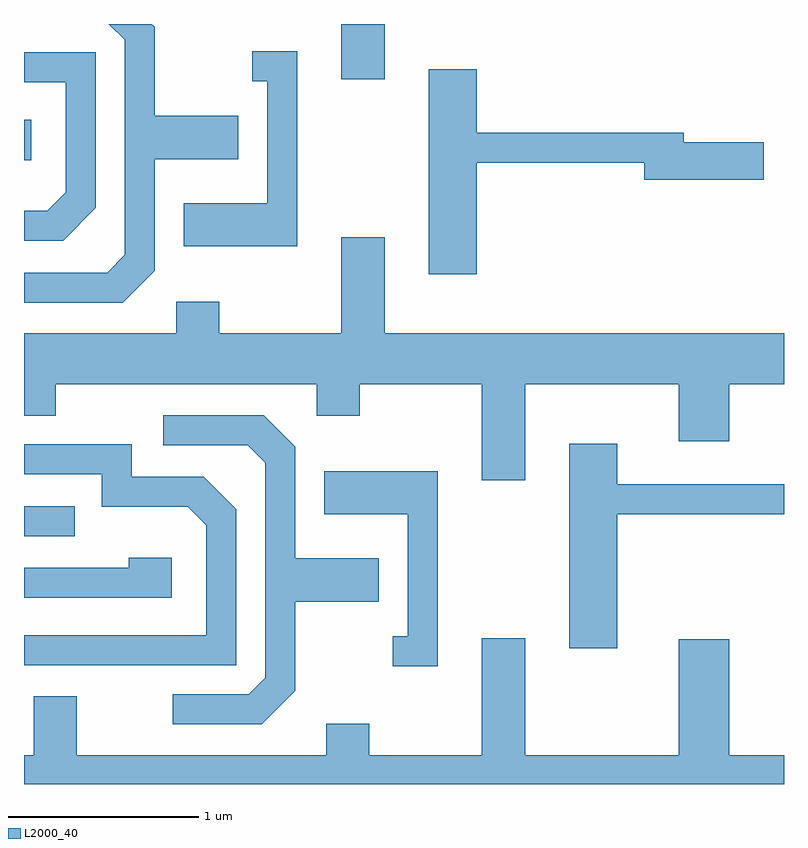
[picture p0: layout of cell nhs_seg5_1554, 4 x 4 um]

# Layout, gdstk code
import gdstk
lib = gdstk.Library(unit=1e-6, precision=1e-09)
def R(c, l, rs):  # rectangles x0, y0, x1, y1
    for r in rs: c.add(gdstk.rectangle(r[:2], r[2:], *l))
def P(c, l, *ps):  # polygons
    for p in ps: c.add(gdstk.Polygon(p, *l))
L2000_40 = (2000, 40)

nhs_seg5_1554 = lib.new_cell('nhs_seg5_1554')
R(nhs_seg5_1554, L2000_40, [(231.611,1409.376,231.878,1409.534), (231.611,1411.356,231.649,1411.569), (233.281,1411.781,233.509,1412.072)])
P(nhs_seg5_1554, L2000_40, [(232.299,1410.774),(232.299,1411.361),(232.739,1411.361),(232.739,1411.589),(232.299,1411.589),(232.299,1412.057),(232.284,1412.072),(232.058,1412.072),(232.141,1411.989),(232.141,1410.857),(232.049,1410.764),(231.611,1410.764),(231.611,1410.606),(232.132,1410.606)],
  [(233.049,1411.929),(232.813,1411.929),(232.813,1411.771),(232.891,1411.771),(232.891,1411.129),(232.451,1411.129),(232.451,1410.901),(233.049,1410.901)],
  [(231.989,1411.104),(231.989,1411.924),(231.611,1411.924),(231.611,1411.766),(231.831,1411.766),(231.831,1411.187),(231.734,1411.089),(231.611,1411.089),(231.611,1410.931),(231.817,1410.931)],
  [(233.994,1411.341),(234.876,1411.341),(234.876,1411.251),(235.504,1411.251),(235.504,1411.449),(235.084,1411.449),(235.084,1411.499),(233.994,1411.499),(233.994,1411.834),(233.741,1411.834),(233.741,1410.756),(233.994,1410.756)],
  [(234.249,1410.176),(235.056,1410.176),(235.056,1409.876),(235.324,1409.876),(235.324,1410.176),(235.611,1410.176),(235.611,1410.444),(233.509,1410.444),(233.509,1410.949),(233.281,1410.949),(233.281,1410.444),(232.639,1410.444),(232.639,1410.609),(232.411,1410.609),(232.411,1410.444),(231.611,1410.444),(231.611,1410.011),(231.779,1410.011),(231.779,1410.176),(233.151,1410.176),(233.151,1410.011),(233.379,1410.011),(233.379,1410.176),(234.021,1410.176),(234.021,1409.671),(234.249,1409.671)],
  [(233.039,1408.564),(233.039,1409.031),(233.479,1409.031),(233.479,1409.259),(233.039,1409.259),(233.039,1409.847),(232.872,1410.014),(232.343,1410.014),(232.343,1409.856),(232.789,1409.856),(232.881,1409.764),(232.881,1408.632),(232.794,1408.544),(232.393,1408.544),(232.393,1408.386),(232.862,1408.386)],
  [(234.734,1409.491),(235.611,1409.491),(235.611,1409.649),(234.734,1409.649),(234.734,1409.864),(234.481,1409.864),(234.481,1408.786),(234.734,1408.786)],
  [(232.729,1409.517),(232.557,1409.689),(232.179,1409.689),(232.179,1409.859),(231.611,1409.859),(231.611,1409.701),(232.021,1409.701),(232.021,1409.531),(232.474,1409.531),(232.571,1409.434),(232.571,1408.854),(231.611,1408.854),(231.611,1408.696),(232.729,1408.696)],
  [(233.789,1409.719),(233.191,1409.719),(233.191,1409.491),(233.631,1409.491),(233.631,1408.849),(233.553,1408.849),(233.553,1408.691),(233.789,1408.691)],
  [(232.389,1409.264),(232.161,1409.264),(232.161,1409.209),(231.611,1409.209),(231.611,1409.051),(232.389,1409.051)],
  [(235.611,1408.224),(235.324,1408.224),(235.324,1408.834),(235.056,1408.834),(235.056,1408.224),(234.249,1408.224),(234.249,1408.839),(234.021,1408.839),(234.021,1408.224),(233.429,1408.224),(233.429,1408.389),(233.201,1408.389),(233.201,1408.224),(231.889,1408.224),(231.889,1408.534),(231.661,1408.534),(231.661,1408.224),(231.611,1408.224),(231.611,1408.072),(235.611,1408.072)])

lib.write_gds('nhs_seg5_1554.gds')
